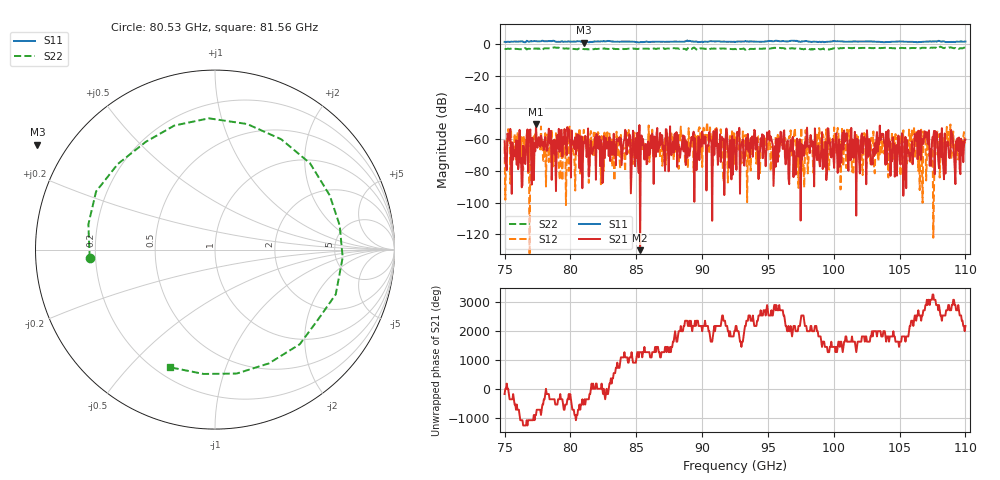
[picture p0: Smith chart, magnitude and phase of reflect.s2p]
!Created with skrf (http://scikit-rf.org).
# GHz S RI R 50.0
!freq ReS11 ImS11 ReS21 ImS21 ReS12 ImS12 ReS22 ImS22
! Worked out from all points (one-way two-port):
!   647 points, 75 GHz to 110 GHz, reference 50 ohm
!   highest |S21| = -50.53 dB at 77.39 GHz (marker M1); lowest = -130.0 dB at 85.3 GHz (marker M2)
!   lowest |S11| = 1.2 dB at 81.02 GHz (marker M3)
!   |S11| at or under -10 dB: nowhere
!   |S22| runs from -3.5 to -1.4 dB; largest |S21 - S12| = 0.0044
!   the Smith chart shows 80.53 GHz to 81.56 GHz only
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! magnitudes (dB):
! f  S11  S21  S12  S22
! 75 GHz  1.6  -61.1  -64.7  -2.9
! 77.39 GHz  2.0  -50.5  -64.8  -2.6
! 79.23 GHz  1.6  -57.4  -85.6  -2.4
! 80.85 GHz  1.6  -58.2  -59.3  -2.7
! 81.02 GHz  1.2  -61.5  -54.0  -2.9
! 85.3 GHz  1.5  -130.0  -59.7  -2.7
! 86.7 GHz  1.7  -66.1  -63.6  -2.6
! 91.8 GHz  1.7  -57.9  -66.5  -2.7
! 92.5 GHz  1.5  -67.5  -75.6  -2.8
! 95.1 GHz  2.2  -54.7  -62.0  -2.7
! 95.59 GHz  2.3  -77.3  -57.9  -2.2
! 96.08 GHz  2.1  -60.4  -64.4  -2.3
! 96.45 GHz  1.9  -61.6  -66.3  -2.6
! 98.35 GHz  1.6  -64.6  -61.1  -2.8
! 99.33 GHz  1.5  -77.3  -63.9  -3.1
! 100.8 GHz  1.8  -61.5  -57.5  -2.2
! 103 GHz  1.9  -66.1  -55.0  -2.4
! 103.7 GHz  1.5  -56.5  -68.4  -2.2
! 104.2 GHz  1.5  -64.4  -59.9  -2.2
! 107.5 GHz  1.8  -62.9  -67.8  -2.0
! 107.8 GHz  1.8  -55.8  -55.8  -2.4
! 110 GHz  1.9  -60.1  -60.9  -2.1
